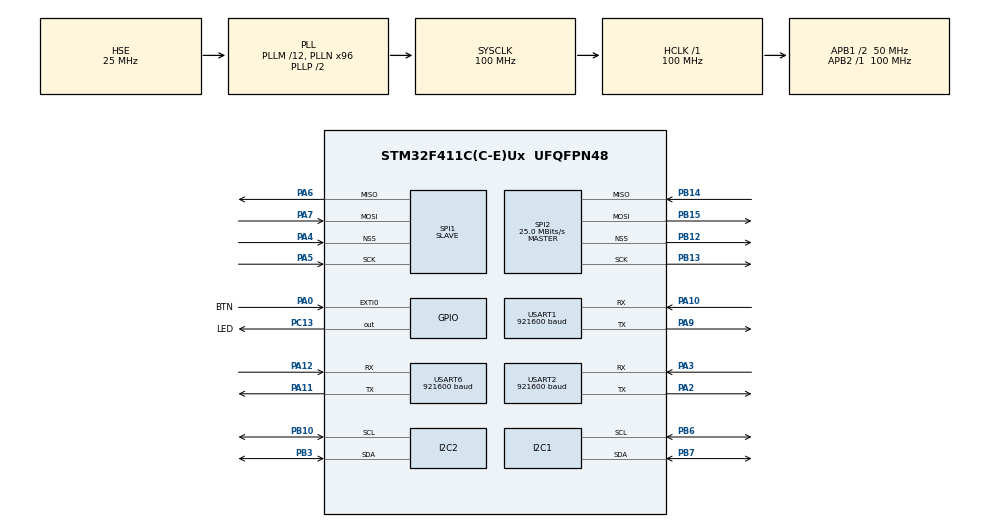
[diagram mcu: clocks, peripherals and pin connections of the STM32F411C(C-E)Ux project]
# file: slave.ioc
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I2C1.I2C_Mode=I2C_Fast
I2C1.OwnAddress=I2C_SLAVE_ADDRESS
I2C2.I2C_Mode=I2C_Fast
Mcu.Family=STM32F4
Mcu.Name=STM32F411C(C-E)Ux
Mcu.Package=UFQFPN48
Mcu.UserConstants=I2C_SLAVE_ADDRESS,0x09
NVIC.I2C1_ER_IRQn=true\:0\:0\:false\:false\:true\:true\:true\:true
NVIC.I2C1_EV_IRQn=true\:0\:0\:false\:false\:true\:true\:true\:true
NVIC.PriorityGroup=NVIC_PRIORITYGROUP_4
NVIC.SPI1_IRQn=true\:0\:0\:false\:false\:true\:true\:true\:true
NVIC.USART2_IRQn=true\:0\:0\:false\:false\:true\:true\:true\:true
PA0-WKUP.GPIO_Label=BTN
PA0-WKUP.GPIO_ModeDefaultEXTI=GPIO_MODE_IT_FALLING
PA0-WKUP.GPIO_PuPd=GPIO_PULLUP
PA0-WKUP.Signal=GPXTI0
PA10.Mode=Asynchronous
PA10.Signal=USART1_RX
PA11.Mode=Asynchronous
PA11.Signal=USART6_TX
PA12.Mode=Asynchronous
PA12.Signal=USART6_RX
PA13.Mode=Serial_Wire
PA13.Signal=SYS_JTMS-SWDIO
PA14.Mode=Serial_Wire
PA14.Signal=SYS_JTCK-SWCLK
PA2.Mode=Asynchronous
PA2.Signal=USART2_TX
PA3.Mode=Asynchronous
PA3.Signal=USART2_RX
PA4.Mode=NSS_Signal_Hard_Input
PA4.Signal=SPI1_NSS
PA5.Mode=Full_Duplex_Slave
PA5.Signal=SPI1_SCK
PA6.Mode=Full_Duplex_Slave
PA6.Signal=SPI1_MISO
PA7.Mode=Full_Duplex_Slave
PA7.Signal=SPI1_MOSI
PA9.Mode=Asynchronous
PA9.Signal=USART1_TX
PB10.GPIO_Pu=GPIO_PULLUP
PB10.Mode=I2C
PB10.Signal=I2C2_SCL
PB12.Mode=NSS_Signal_Hard_Output
PB12.Signal=SPI2_NSS
PB13.Mode=Full_Duplex_Master
PB13.Signal=SPI2_SCK
PB14.Mode=Full_Duplex_Master
PB14.Signal=SPI2_MISO
PB15.Mode=Full_Duplex_Master
PB15.Signal=SPI2_MOSI
PB3.GPIO_Pu=GPIO_PULLUP
PB3.Mode=I2C
PB3.Signal=I2C2_SDA
PB6.GPIO_Pu=GPIO_PULLUP
PB6.Mode=I2C
PB6.Signal=I2C1_SCL
PB7.GPIO_Pu=GPIO_PULLUP
PB7.Mode=I2C
PB7.Signal=I2C1_SDA
PC13-ANTI_TAMP.GPIO_Label=LED
PC13-ANTI_TAMP.GPIO_ModeDefaultOutputPP=GPIO_MODE_OUTPUT_OD
PC13-ANTI_TAMP.GPIO_PuPd=GPIO_NOPULL
PC13-ANTI_TAMP.PinState=GPIO_PIN_SET
PC13-ANTI_TAMP.Signal=GPIO_Output
PH0\ -\ OSC_IN.Mode=HSE-External-Oscillator
PH0\ -\ OSC_IN.Signal=RCC_OSC_IN
PH1\ -\ OSC_OUT.Mode=HSE-External-Oscillator
PH1\ -\ OSC_OUT.Signal=RCC_OSC_OUT
ProjectManager.HeapSize=0x200
ProjectManager.StackSize=0x400
ProjectManager.TargetToolchain=STM32CubeIDE
RCC.48MHZClocksFreq_Value=50000000
RCC.AHBFreq_Value=100000000
RCC.APB1CLKDivider=RCC_HCLK_DIV2
RCC.APB1Freq_Value=50000000
RCC.APB1TimFreq_Value=100000000
RCC.APB2Freq_Value=100000000
RCC.APB2TimFreq_Value=100000000
RCC.CortexFreq_Value=100000000
RCC.HCLKFreq_Value=100000000
RCC.HSE_VALUE=25000000
RCC.HSI_VALUE=16000000
RCC.LSE_VALUE=32768
RCC.PLLM=12
RCC.PLLN=96
RCC.PLLSourceVirtual=RCC_PLLSOURCE_HSE
RCC.SYSCLKFreq_VALUE=100000000
RCC.SYSCLKSource=RCC_SYSCLKSOURCE_PLLCLK
RCC.VCOOutputFreq_Value=200000000
SPI1.Direction=SPI_DIRECTION_2LINES
SPI1.Mode=SPI_MODE_SLAVE
SPI1.VirtualNSS=VM_NSSHARD
SPI1.VirtualType=VM_SLAVE
SPI2.CalculateBaudRate=25.0 MBits/s
SPI2.Direction=SPI_DIRECTION_2LINES
SPI2.Mode=SPI_MODE_MASTER
SPI2.VirtualNSS=VM_NSSHARD
SPI2.VirtualType=VM_MASTER
USART1.BaudRate=921600
USART1.VirtualMode=VM_ASYNC
USART2.BaudRate=921600
USART2.VirtualMode=VM_ASYNC
USART6.BaudRate=921600
USART6.VirtualMode=VM_ASYNC
board=custom

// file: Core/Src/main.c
/* USER CODE BEGIN Header */
/**
 ******************************************************************************
 * @file           : main.c
 * @brief          : Main program body
 ******************************************************************************
 * @attention
 *
 * Copyright (c) 2023 Lars Boegild Thomsen <lbthomsen@gmail.com>
 * All rights reserved.
 *
 * This software is licensed under terms that can be found in the LICENSE file
 * in the root directory of this software component.
 * If no LICENSE file comes with this software, it is provided AS-IS.
 *
 ******************************************************************************
 */
/* USER CODE END Header */
#include "main.h"

/* USER CODE BEGIN Includes */
#include "slavelib.h"
/* USER CODE END Includes */

/* USER CODE BEGIN PD */
#define SLAVE_DEVICE_ID          0x0000
#define SLAVE_DEVICE_REV_HI      0x0001
#define SLAVE_DEVICE_REV_LO      0x0002
#define SLAVE_DEVICE_MEM_BANK_0  0x1000
#define SLAVE_DEVICE_MEM_BANK_1  0x2000
/* USER CODE END PD */

I2C_HandleTypeDef hi2c1;
I2C_HandleTypeDef hi2c2;

SPI_HandleTypeDef hspi1;
SPI_HandleTypeDef hspi2;

UART_HandleTypeDef huart1;
UART_HandleTypeDef huart2;
UART_HandleTypeDef huart6;

/* USER CODE BEGIN PV */

const uint8_t device_id = 0xfa;
const uint8_t device_rev_hi = 0x00;
const uint8_t device_rev_lo   = 0x01;

uint8_t bank0[1024] = {0};
uint8_t bank1[1024] = {1};

const slave_register_typedef slave_register[] = {
    {
        SLAVE_DEVICE_ID,
        SLAVE_REGISTER_RO,
        &device_id,
        sizeof(device_id)
    },
    {
        SLAVE_DEVICE_REV_HI,
        SLAVE_REGISTER_RO,
        &device_rev_hi,
        sizeof(device_rev_hi)
    },
    {
        SLAVE_DEVICE_REV_HI,
        SLAVE_REGISTER_RO,
        &device_rev_lo,
        sizeof(device_rev_lo)
    },
    {
        SLAVE_DEVICE_MEM_BANK_0,
        SLAVE_REGISTER_MEM,
        &bank0[0],
        sizeof(bank0)
    },
    {
        SLAVE_DEVICE_MEM_BANK_1,
        SLAVE_REGISTER_MEM,
        &bank1[0],
        sizeof(bank1)
    }
};

slave_i2c_handle_typedef slave_i2c_handle;

/* USER CODE END PV */

void SystemClock_Config(void);
static void MX_GPIO_Init(void);
static void MX_I2C1_Init(void);
static void MX_I2C2_Init(void);
static void MX_SPI1_Init(void);
static void MX_SPI2_Init(void);
static void MX_USART1_UART_Init(void);
static void MX_USART2_UART_Init(void);
static void MX_USART6_UART_Init(void);

/* USER CODE BEGIN 0 */

// Send printf to uart1
int _write(int fd, char *ptr, int len) {
    HAL_StatusTypeDef hstatus;

    if (fd == 1 || fd == 2) {
        hstatus = HAL_UART_Transmit(&huart1, (uint8_t*) ptr, len, HAL_MAX_DELAY);
        if (hstatus == HAL_OK)
            return len;
        else
            return -1;
    }
    return -1;
}

void HAL_I2C_SlaveTxCpltCallback(I2C_HandleTypeDef *hi2c) {
    if (hi2c->Instance == I2C1) slave_i2c_tx_callback(&slave_i2c_handle);
}

void HAL_I2C_SlaveRxCpltCallback(I2C_HandleTypeDef *hi2c) {
    if (hi2c->Instance == I2C1) slave_i2c_rx_callback(&slave_i2c_handle);
}

void HAL_I2C_AddrCallback(I2C_HandleTypeDef *hi2c, uint8_t TransferDirection, uint16_t AddrMatchCode) {
    if (hi2c->Instance == I2C1) slave_i2c_addr_callback(&slave_i2c_handle, TransferDirection, AddrMatchCode);
}

void HAL_I2C_ListenCpltCallback(I2C_HandleTypeDef *hi2c) {
    if (hi2c->Instance == I2C1) slave_i2c_listen_callback(&slave_i2c_handle);
}

void HAL_I2C_MemTxCpltCallback(I2C_HandleTypeDef *hi2c) {
    if (hi2c->Instance == I2C1) slave_i2c_mem_tx_callback(&slave_i2c_handle);
}

void HAL_I2C_ErrorCallback(I2C_HandleTypeDef *hi2c) {
    if (hi2c->Instance == I2C1) slave_i2c_error_callback(&slave_i2c_handle);
}

void HAL_I2C_AbortCpltCallback(I2C_HandleTypeDef *hi2c) {
    if (hi2c->Instance == I2C1) slave_i2c_abort_callback(&slave_i2c_handle);
}

uint8_t i2c_read_register(uint16_t address) {
    uint8_t data;
    if (HAL_I2C_Master_Transmit(&hi2c2, (uint16_t)(I2C_SLAVE_ADDRESS << 1), (uint8_t *)&address, 2, HAL_MAX_DELAY) != HAL_OK) {
        Error_Handler();
    }

    if (HAL_I2C_Master_Receive(&hi2c2, (uint16_t)(I2C_SLAVE_ADDRESS << 1), &data, 1, HAL_MAX_DELAY) != HAL_OK) {
        Error_Handler();
    }

    return data;

}

/* USER CODE END 0 */

int main(void)
{

  /* MCU Configuration--------------------------------------------------------*/

  /* Reset of all peripherals, Initializes the Flash interface and the Systick. */
  HAL_Init();

  /* Configure the system clock */
  SystemClock_Config();

  /* Initialize all configured peripherals */
  MX_GPIO_Init();
  MX_I2C1_Init();
  MX_I2C2_Init();
  MX_SPI1_Init();
  MX_SPI2_Init();
  MX_USART1_UART_Init();
  MX_USART2_UART_Init();
  MX_USART6_UART_Init();
  /* USER CODE BEGIN 2 */

  DBG("\n\n\n--------\nStarting");

  DBG("Device configured as 0x%02x, ver. %d:%02d", (uint8_t)*slave_register[0].data_address, (uint8_t)*slave_register[1].data_address, (uint8_t)*slave_register[2].data_address);

  if (slave_i2c_init(&slave_i2c_handle, &hi2c1) != SLAVE_Ok) {
      DBG("Slave i2c init failed");
      Error_Handler();
  }

  DBG("Scanning i2c bus");
  // Go through all possible i2c addresses
  for (uint8_t i = 0; i < 128; i++) {

      if (HAL_I2C_IsDeviceReady(&hi2c2, (uint16_t) (i << 1), 3, 5) == HAL_OK) {
          // We got an ack
          printf("I2c Slave found on address %02x\n", i);
      }
  }

  uint8_t value;

  value = i2c_read_register(0x05);
  DBG("I2C device reported: 0x%02x", value);

  /* USER CODE END 2 */

  /* Infinite loop */
  /* USER CODE BEGIN WHILE */

  uint32_t now = 0, last_blink = 0, last_tick = 0;

    while (1) {

        now = HAL_GetTick();

        if (now - last_blink >= 500) {
            HAL_GPIO_TogglePin(LED_GPIO_Port, LED_Pin);

            last_blink = now;
        }

//        if (now - last_tick >= 1000) {
//            DBG("Tick %lu", now / 1000);
//            last_tick = now;
//        }

    /* USER CODE END WHILE */

    }
}

void SystemClock_Config(void)
{
  RCC_OscInitTypeDef RCC_OscInitStruct = {0};
  RCC_ClkInitTypeDef RCC_ClkInitStruct = {0};

  /** Configure the main internal regulator output voltage
  */
  __HAL_RCC_PWR_CLK_ENABLE();
  __HAL_PWR_VOLTAGESCALING_CONFIG(PWR_REGULATOR_VOLTAGE_SCALE1);

  /** Initializes the RCC Oscillators according to the specified parameters
  * in the RCC_OscInitTypeDef structure.
  */
  RCC_OscInitStruct.OscillatorType = RCC_OSCILLATORTYPE_HSE;
  RCC_OscInitStruct.HSEState = RCC_HSE_ON;
  RCC_OscInitStruct.PLL.PLLState = RCC_PLL_ON;
  RCC_OscInitStruct.PLL.PLLSource = RCC_PLLSOURCE_HSE;
  RCC_OscInitStruct.PLL.PLLM = 12;
  RCC_OscInitStruct.PLL.PLLN = 96;
  RCC_OscInitStruct.PLL.PLLP = RCC_PLLP_DIV2;
  RCC_OscInitStruct.PLL.PLLQ = 4;
  if (HAL_RCC_OscConfig(&RCC_OscInitStruct) != HAL_OK)
  {
    Error_Handler();
  }

  /** Initializes the CPU, AHB and APB buses clocks
  */
  RCC_ClkInitStruct.ClockType = RCC_CLOCKTYPE_HCLK|RCC_CLOCKTYPE_SYSCLK
                              |RCC_CLOCKTYPE_PCLK1|RCC_CLOCKTYPE_PCLK2;
  RCC_ClkInitStruct.SYSCLKSource = RCC_SYSCLKSOURCE_PLLCLK;
  RCC_ClkInitStruct.AHBCLKDivider = RCC_SYSCLK_DIV1;
  RCC_ClkInitStruct.APB1CLKDivider = RCC_HCLK_DIV2;
  RCC_ClkInitStruct.APB2CLKDivider = RCC_HCLK_DIV1;

  if (HAL_RCC_ClockConfig(&RCC_ClkInitStruct, FLASH_LATENCY_3) != HAL_OK)
  {
    Error_Handler();
  }
}

static void MX_I2C1_Init(void)
{

  hi2c1.Instance = I2C1;
  hi2c1.Init.ClockSpeed = 400000;
  hi2c1.Init.DutyCycle = I2C_DUTYCYCLE_2;
  hi2c1.Init.OwnAddress1 = 18;
  hi2c1.Init.AddressingMode = I2C_ADDRESSINGMODE_7BIT;
  hi2c1.Init.DualAddressMode = I2C_DUALADDRESS_DISABLE;
  hi2c1.Init.OwnAddress2 = 0;
  hi2c1.Init.GeneralCallMode = I2C_GENERALCALL_DISABLE;
  hi2c1.Init.NoStretchMode = I2C_NOSTRETCH_DISABLE;
  if (HAL_I2C_Init(&hi2c1) != HAL_OK)
  {
    Error_Handler();
  }

}

static void MX_I2C2_Init(void)
{

  hi2c2.Instance = I2C2;
  hi2c2.Init.ClockSpeed = 400000;
  hi2c2.Init.DutyCycle = I2C_DUTYCYCLE_2;
  hi2c2.Init.OwnAddress1 = 0;
  hi2c2.Init.AddressingMode = I2C_ADDRESSINGMODE_7BIT;
  hi2c2.Init.DualAddressMode = I2C_DUALADDRESS_DISABLE;
  hi2c2.Init.OwnAddress2 = 0;
  hi2c2.Init.GeneralCallMode = I2C_GENERALCALL_DISABLE;
  hi2c2.Init.NoStretchMode = I2C_NOSTRETCH_DISABLE;
  if (HAL_I2C_Init(&hi2c2) != HAL_OK)
  {
    Error_Handler();
  }

}

static void MX_SPI1_Init(void)
{

  /* SPI1 parameter configuration*/
  hspi1.Instance = SPI1;
  hspi1.Init.Mode = SPI_MODE_SLAVE;
  hspi1.Init.Direction = SPI_DIRECTION_2LINES;
  hspi1.Init.DataSize = SPI_DATASIZE_8BIT;
  hspi1.Init.CLKPolarity = SPI_POLARITY_LOW;
  hspi1.Init.CLKPhase = SPI_PHASE_1EDGE;
  hspi1.Init.NSS = SPI_NSS_HARD_INPUT;
  hspi1.Init.FirstBit = SPI_FIRSTBIT_MSB;
  hspi1.Init.TIMode = SPI_TIMODE_DISABLE;
  hspi1.Init.CRCCalculation = SPI_CRCCALCULATION_DISABLE;
  hspi1.Init.CRCPolynomial = 10;
  if (HAL_SPI_Init(&hspi1) != HAL_OK)
  {
    Error_Handler();
  }

}

static void MX_SPI2_Init(void)
{

  /* SPI2 parameter configuration*/
  hspi2.Instance = SPI2;
  hspi2.Init.Mode = SPI_MODE_MASTER;
  hspi2.Init.Direction = SPI_DIRECTION_2LINES;
  hspi2.Init.DataSize = SPI_DATASIZE_8BIT;
  hspi2.Init.CLKPolarity = SPI_POLARITY_LOW;
  hspi2.Init.CLKPhase = SPI_PHASE_1EDGE;
  hspi2.Init.NSS = SPI_NSS_HARD_OUTPUT;
  hspi2.Init.BaudRatePrescaler = SPI_BAUDRATEPRESCALER_2;
  hspi2.Init.FirstBit = SPI_FIRSTBIT_MSB;
  hspi2.Init.TIMode = SPI_TIMODE_DISABLE;
  hspi2.Init.CRCCalculation = SPI_CRCCALCULATION_DISABLE;
  hspi2.Init.CRCPolynomial = 10;
  if (HAL_SPI_Init(&hspi2) != HAL_OK)
  {
    Error_Handler();
  }

}

static void MX_USART1_UART_Init(void)
{

  huart1.Instance = USART1;
  huart1.Init.BaudRate = 921600;
  huart1.Init.WordLength = UART_WORDLENGTH_8B;
  huart1.Init.StopBits = UART_STOPBITS_1;
  huart1.Init.Parity = UART_PARITY_NONE;
  huart1.Init.Mode = UART_MODE_TX_RX;
  huart1.Init.HwFlowCtl = UART_HWCONTROL_NONE;
  huart1.Init.OverSampling = UART_OVERSAMPLING_16;
  if (HAL_UART_Init(&huart1) != HAL_OK)
  {
    Error_Handler();
  }

}

static void MX_USART2_UART_Init(void)
{

  huart2.Instance = USART2;
  huart2.Init.BaudRate = 921600;
  huart2.Init.WordLength = UART_WORDLENGTH_8B;
  huart2.Init.StopBits = UART_STOPBITS_1;
  huart2.Init.Parity = UART_PARITY_NONE;
  huart2.Init.Mode = UART_MODE_TX_RX;
  huart2.Init.HwFlowCtl = UART_HWCONTROL_NONE;
  huart2.Init.OverSampling = UART_OVERSAMPLING_16;
  if (HAL_UART_Init(&huart2) != HAL_OK)
  {
    Error_Handler();
  }

}

static void MX_USART6_UART_Init(void)
{

  huart6.Instance = USART6;
  huart6.Init.BaudRate = 921600;
  huart6.Init.WordLength = UART_WORDLENGTH_8B;
  huart6.Init.StopBits = UART_STOPBITS_1;
  huart6.Init.Parity = UART_PARITY_NONE;
  huart6.Init.Mode = UART_MODE_TX_RX;
  huart6.Init.HwFlowCtl = UART_HWCONTROL_NONE;
  huart6.Init.OverSampling = UART_OVERSAMPLING_16;
  if (HAL_UART_Init(&huart6) != HAL_OK)
  {
    Error_Handler();
  }

}

static void MX_GPIO_Init(void)
{
  GPIO_InitTypeDef GPIO_InitStruct = {0};

  /* GPIO Ports Clock Enable */
  __HAL_RCC_GPIOC_CLK_ENABLE();
  __HAL_RCC_GPIOH_CLK_ENABLE();
  __HAL_RCC_GPIOA_CLK_ENABLE();
  __HAL_RCC_GPIOB_CLK_ENABLE();

  /*Configure GPIO pin Output Level */
  HAL_GPIO_WritePin(LED_GPIO_Port, LED_Pin, GPIO_PIN_SET);

  /*Configure GPIO pin : LED_Pin */
  GPIO_InitStruct.Pin = LED_Pin;
  GPIO_InitStruct.Mode = GPIO_MODE_OUTPUT_OD;
  GPIO_InitStruct.Pull = GPIO_NOPULL;
  GPIO_InitStruct.Speed = GPIO_SPEED_FREQ_LOW;
  HAL_GPIO_Init(LED_GPIO_Port, &GPIO_InitStruct);

  /*Configure GPIO pin : BTN_Pin */
  GPIO_InitStruct.Pin = BTN_Pin;
  GPIO_InitStruct.Mode = GPIO_MODE_IT_FALLING;
  GPIO_InitStruct.Pull = GPIO_PULLUP;
  HAL_GPIO_Init(BTN_GPIO_Port, &GPIO_InitStruct);

}

void Error_Handler(void)
{
    __disable_irq();
    while (1) {
    }
}
